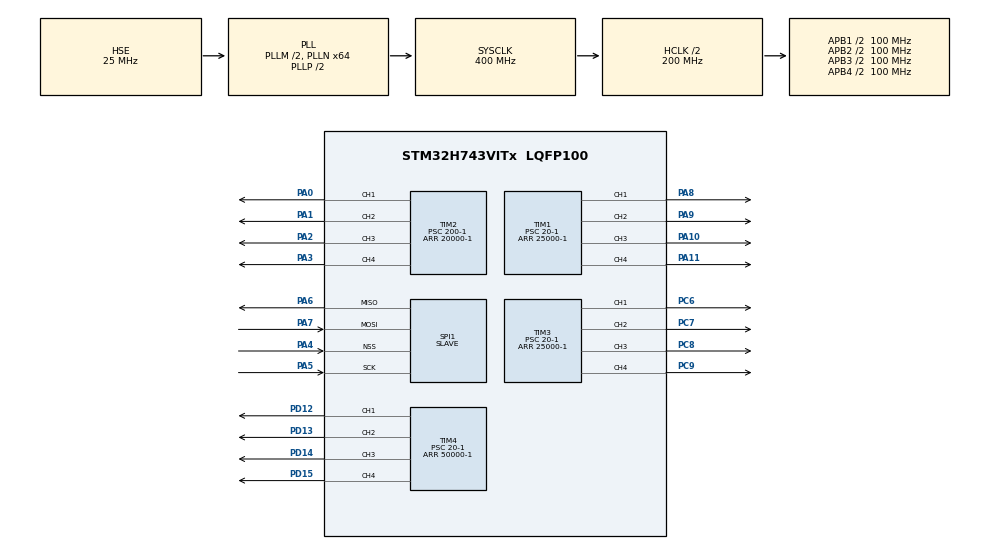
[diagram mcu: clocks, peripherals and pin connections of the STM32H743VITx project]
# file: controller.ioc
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Dma.Request0=SPI1_RX
Dma.Request1=SPI1_TX
Dma.SPI1_RX.0.Direction=DMA_PERIPH_TO_MEMORY
Dma.SPI1_RX.0.EventEnable=DISABLE
Dma.SPI1_RX.0.FIFOMode=DMA_FIFOMODE_DISABLE
Dma.SPI1_RX.0.Instance=DMA1_Stream0
Dma.SPI1_RX.0.MemDataAlignment=DMA_MDATAALIGN_BYTE
Dma.SPI1_RX.0.MemInc=DMA_MINC_ENABLE
Dma.SPI1_RX.0.Mode=DMA_NORMAL
Dma.SPI1_RX.0.PeriphDataAlignment=DMA_PDATAALIGN_BYTE
Dma.SPI1_RX.0.PeriphInc=DMA_PINC_DISABLE
Dma.SPI1_RX.0.Polarity=HAL_DMAMUX_REQ_GEN_RISING
Dma.SPI1_RX.0.Priority=DMA_PRIORITY_VERY_HIGH
Dma.SPI1_RX.0.RequestNumber=1
Dma.SPI1_RX.0.SignalID=NONE
Dma.SPI1_RX.0.SyncEnable=DISABLE
Dma.SPI1_RX.0.SyncPolarity=HAL_DMAMUX_SYNC_NO_EVENT
Dma.SPI1_RX.0.SyncRequestNumber=1
Dma.SPI1_RX.0.SyncSignalID=NONE
Dma.SPI1_TX.1.Direction=DMA_MEMORY_TO_PERIPH
Dma.SPI1_TX.1.EventEnable=DISABLE
Dma.SPI1_TX.1.FIFOMode=DMA_FIFOMODE_DISABLE
Dma.SPI1_TX.1.Instance=DMA1_Stream1
Dma.SPI1_TX.1.MemDataAlignment=DMA_MDATAALIGN_BYTE
Dma.SPI1_TX.1.MemInc=DMA_MINC_ENABLE
Dma.SPI1_TX.1.Mode=DMA_NORMAL
Dma.SPI1_TX.1.PeriphDataAlignment=DMA_PDATAALIGN_BYTE
Dma.SPI1_TX.1.PeriphInc=DMA_PINC_DISABLE
Dma.SPI1_TX.1.Polarity=HAL_DMAMUX_REQ_GEN_RISING
Dma.SPI1_TX.1.Priority=DMA_PRIORITY_LOW
Dma.SPI1_TX.1.RequestNumber=1
Dma.SPI1_TX.1.SignalID=NONE
Dma.SPI1_TX.1.SyncEnable=DISABLE
Dma.SPI1_TX.1.SyncPolarity=HAL_DMAMUX_SYNC_NO_EVENT
Dma.SPI1_TX.1.SyncRequestNumber=1
Dma.SPI1_TX.1.SyncSignalID=NONE
Mcu.Family=STM32H7
Mcu.Name=STM32H743VITx
Mcu.Package=LQFP100
NVIC.DMA1_Stream0_IRQn=true\:0\:0\:false\:false\:true\:false\:true
NVIC.DMA1_Stream1_IRQn=true\:0\:0\:false\:false\:true\:false\:true
NVIC.PriorityGroup=NVIC_PRIORITYGROUP_4
NVIC.SPI1_IRQn=true\:0\:0\:false\:false\:true\:true\:true
NVIC.TIM5_IRQn=true\:0\:0\:false\:false\:true\:true\:true
PA0.GPIO_PuPd=GPIO_PULLDOWN
PA0.GPIO_Speed=GPIO_SPEED_FREQ_VERY_HIGH
PA0.Signal=S_TIM2_CH1
PA1.GPIO_PuPd=GPIO_PULLDOWN
PA1.GPIO_Speed=GPIO_SPEED_FREQ_VERY_HIGH
PA1.Signal=S_TIM2_CH2
PA10.GPIO_PuPd=GPIO_PULLDOWN
PA10.GPIO_Speed=GPIO_SPEED_FREQ_VERY_HIGH
PA10.Signal=S_TIM1_CH3
PA11.GPIO_PuPd=GPIO_PULLDOWN
PA11.GPIO_Speed=GPIO_SPEED_FREQ_VERY_HIGH
PA11.Signal=S_TIM1_CH4
PA2.GPIO_PuPd=GPIO_PULLDOWN
PA2.GPIO_Speed=GPIO_SPEED_FREQ_VERY_HIGH
PA2.Signal=S_TIM2_CH3
PA3.GPIO_PuPd=GPIO_PULLDOWN
PA3.GPIO_Speed=GPIO_SPEED_FREQ_VERY_HIGH
PA3.Signal=S_TIM2_CH4
PA4.Mode=NSS_Signal_Hard_Input
PA4.Signal=SPI1_NSS
PA5.Mode=Full_Duplex_Slave
PA5.Signal=SPI1_SCK
PA6.Mode=Full_Duplex_Slave
PA6.Signal=SPI1_MISO
PA7.Mode=Full_Duplex_Slave
PA7.Signal=SPI1_MOSI
PA8.GPIO_PuPd=GPIO_PULLDOWN
PA8.GPIO_Speed=GPIO_SPEED_FREQ_VERY_HIGH
PA8.Signal=S_TIM1_CH1
PA9.GPIO_PuPd=GPIO_PULLDOWN
PA9.GPIO_Speed=GPIO_SPEED_FREQ_VERY_HIGH
PA9.Signal=S_TIM1_CH2
PC6.GPIO_PuPd=GPIO_PULLDOWN
PC6.GPIO_Speed=GPIO_SPEED_FREQ_VERY_HIGH
PC6.Signal=S_TIM3_CH1
PC7.GPIO_PuPd=GPIO_PULLDOWN
PC7.GPIO_Speed=GPIO_SPEED_FREQ_VERY_HIGH
PC7.Signal=S_TIM3_CH2
PC8.GPIO_PuPd=GPIO_PULLDOWN
PC8.GPIO_Speed=GPIO_SPEED_FREQ_VERY_HIGH
PC8.Signal=S_TIM3_CH3
PC9.GPIO_PuPd=GPIO_PULLDOWN
PC9.GPIO_Speed=GPIO_SPEED_FREQ_VERY_HIGH
PC9.Signal=S_TIM3_CH4
PD12.GPIO_PuPd=GPIO_PULLDOWN
PD12.GPIO_Speed=GPIO_SPEED_FREQ_VERY_HIGH
PD12.Signal=S_TIM4_CH1
PD13.GPIO_PuPd=GPIO_PULLDOWN
PD13.GPIO_Speed=GPIO_SPEED_FREQ_VERY_HIGH
PD13.Signal=S_TIM4_CH2
PD14.GPIO_PuPd=GPIO_PULLDOWN
PD14.GPIO_Speed=GPIO_SPEED_FREQ_VERY_HIGH
PD14.Signal=S_TIM4_CH3
PD15.GPIO_PuPd=GPIO_PULLDOWN
PD15.GPIO_Speed=GPIO_SPEED_FREQ_VERY_HIGH
PD15.Signal=S_TIM4_CH4
PH0-OSC_IN\ (PH0).Mode=HSE-External-Oscillator
PH0-OSC_IN\ (PH0).Signal=RCC_OSC_IN
PH1-OSC_OUT\ (PH1).Mode=HSE-External-Oscillator
PH1-OSC_OUT\ (PH1).Signal=RCC_OSC_OUT
ProjectManager.HeapSize=0x200
ProjectManager.StackSize=0x400
ProjectManager.TargetToolchain=STM32CubeIDE
RCC.ADCCLockSelection=RCC_ADCCLKSOURCE_PLL2
RCC.ADCFreq_Value=50390625
RCC.APB1Freq_Value=100000000
RCC.APB2Freq_Value=100000000
RCC.APB3Freq_Value=100000000
RCC.APB4Freq_Value=100000000
RCC.CECCLockSelection=RCC_CECCLKSOURCE_LSI
RCC.CKPERSourceSelection=RCC_CLKPSOURCE_HSI
RCC.CSI_VALUE=4000000
RCC.CortexFreq_Value=400000000
RCC.Cortex_Div=SYSTICK_CLKSOURCE_HCLK
RCC.Cortex_DivARG=SystemCoreClock/1000
RCC.D1CPRE=RCC_SYSCLK_DIV1
RCC.D1PPRE=RCC_APB3_DIV2
RCC.D2PPRE1=RCC_APB1_DIV2
RCC.D2PPRE2=RCC_APB2_DIV2
RCC.D3PPRE=RCC_APB4_DIV2
RCC.DFSDMCLockSelection=RCC_DFSDM1CLKSOURCE_D2PCLK1
RCC.DIVM1=2
RCC.DIVM2=32
RCC.DIVM3=32
RCC.DIVN1=64
RCC.DIVN2=129
RCC.DIVN3=129
RCC.DIVP1=2
RCC.DIVP2=2
RCC.DIVP3=2
RCC.DIVQ1=4
RCC.DIVQ2=2
RCC.DIVQ3=2
RCC.DIVR1=2
RCC.DIVR2=2
RCC.DIVR3=2
RCC.DSICLockSelection=RCC_DSICLKSOURCE_PHY
RCC.DSIPHY_Div=8
RCC.DSITX_Div=4
RCC.DSI_PHY_VALUE=12288000
RCC.EXTERNAL_CLOCK_VALUE=12288000
RCC.FDCANCLockSelection=RCC_FDCANCLKSOURCE_PLL
RCC.FMCCLockSelection=RCC_FMCCLKSOURCE_D1HCLK
RCC.HCLKFreq_Value=200000000
RCC.HPRE=RCC_HCLK_DIV2
RCC.HSE_VALUE=25000000
RCC.HSIDiv=RCC_PLLSAIDIVR_1
RCC.HSI_VALUE=64000000
RCC.I2C123CLockSelection=RCC_I2C123CLKSOURCE_D2PCLK1
RCC.I2C4CLockSelection=RCC_I2C4CLKSOURCE_D3PCLK1
RCC.LPTIM1CLockSelection=RCC_LPTIM1CLKSOURCE_D2PCLK1
RCC.LPTIM2CLockSelection=RCC_LPTIM2CLKSOURCE_D3PCLK1
RCC.LPTIM345CLockSelection=RCC_LPTIM345CLKSOURCE_D3PCLK1
RCC.LPUART1CLockSelection=RCC_LPUART1CLKSOURCE_D3PCLK1
RCC.LSE_VALUE=32768
RCC.PLL1_VCO_SEL-AdvancedSettings=RCC_PLL1VCOMEDIUM
RCC.PLL2_VCI_Range-AdvancedSettings=RCC_PLL2VCIRANGE_0
RCC.PLL2_VCO_SEL-AdvancedSettings=RCC_PLL2VCOMEDIUM
RCC.PLLDSIDev=2
RCC.PLLDSIIDF=DSI_PLL_IN_DIV1
RCC.PLLDSIMult=2
RCC.PLLDSINDIV=20
RCC.PLLDSIODF=DSI_PLL_OUT_DIV1
RCC.PLLFRACN=0
RCC.PLLSourceVirtual=RCC_PLLSOURCE_HSE
RCC.QSPICLockSelection=RCC_QSPICLKSOURCE_D1HCLK
RCC.RC48_VALUE=48000000
RCC.RCC_MCO1Source=RCC_MCO1SOURCE_HSI
RCC.RCC_MCO2Source=RCC_MCO2SOURCE_SYSCLK
RCC.RCC_MCODiv1=RCC_MCODIV_1
RCC.RCC_MCODiv2=RCC_MCODIV_1
RCC.RCC_RTC_Clock_Source_FROM_HSE=RCC_RTCCLKSOURCE_HSE_DIV2
RCC.RNGCLockSelection=RCC_RNGCLKSOURCE_HSI48
RCC.SAI1CLockSelection=RCC_SAI1CLKSOURCE_PLL
RCC.SAI23CLockSelection=RCC_SAI23CLKSOURCE_PLL
RCC.SAI4ACLockSelection=RCC_SAI4ACLKSOURCE_PLL
RCC.SAI4BCLockSelection=RCC_SAI4BCLKSOURCE_PLL
RCC.SPDIFCLockSelection=RCC_SPDIFRXCLKSOURCE_PLL
RCC.SPI123CLockSelection=RCC_SPI123CLKSOURCE_PLL
RCC.SPI6CLockSelection=RCC_SPI6CLKSOURCE_D3PCLK1
RCC.SWPCLockSelection=RCC_SWPMI1CLKSOURCE_D2PCLK1
RCC.SYSCLKFreq_VALUE=400000000
RCC.SYSCLKSource=RCC_SYSCLKSOURCE_PLLCLK
RCC.Spi45ClockSelection=RCC_SPI45CLKSOURCE_D2PCLK1
RCC.USART16CLockSelection=RCC_USART16CLKSOURCE_D2PCLK2
RCC.USART234578CLockSelection=RCC_USART234578CLKSOURCE_D2PCLK1
RCC.USBCLockSelection=RCC_USBCLKSOURCE_HSI48
RCC.USBFreq_Value=48000000
SH.S_TIM1_CH1.0=TIM1_CH1,PWM Generation1 CH1
SH.S_TIM1_CH2.0=TIM1_CH2,PWM Generation2 CH2
SH.S_TIM1_CH3.0=TIM1_CH3,PWM Generation3 CH3
SH.S_TIM1_CH4.0=TIM1_CH4,PWM Generation4 CH4
SH.S_TIM2_CH1.0=TIM2_CH1,PWM Generation1 CH1
SH.S_TIM2_CH2.0=TIM2_CH2,PWM Generation2 CH2
SH.S_TIM2_CH3.0=TIM2_CH3,PWM Generation3 CH3
SH.S_TIM2_CH4.0=TIM2_CH4,PWM Generation4 CH4
SH.S_TIM3_CH1.0=TIM3_CH1,PWM Generation1 CH1
SH.S_TIM3_CH2.0=TIM3_CH2,PWM Generation2 CH2
SH.S_TIM3_CH3.0=TIM3_CH3,PWM Generation3 CH3
SH.S_TIM3_CH4.0=TIM3_CH4,PWM Generation4 CH4
SH.S_TIM4_CH1.0=TIM4_CH1,PWM Generation1 CH1
SH.S_TIM4_CH2.0=TIM4_CH2,PWM Generation2 CH2
SH.S_TIM4_CH3.0=TIM4_CH3,PWM Generation3 CH3
SH.S_TIM4_CH4.0=TIM4_CH4,PWM Generation4 CH4
SPI1.DataSize=SPI_DATASIZE_8BIT
SPI1.Direction=SPI_DIRECTION_2LINES
SPI1.Mode=SPI_MODE_SLAVE
SPI1.VirtualNSS=VM_NSSHARD
SPI1.VirtualType=VM_SLAVE
TIM1.AutoReloadPreload=TIM_AUTORELOAD_PRELOAD_ENABLE
TIM1.Channel-PWM\ Generation1\ CH1=TIM_CHANNEL_1
TIM1.Channel-PWM\ Generation2\ CH2=TIM_CHANNEL_2
TIM1.Channel-PWM\ Generation3\ CH3=TIM_CHANNEL_3
TIM1.Channel-PWM\ Generation4\ CH4=TIM_CHANNEL_4
TIM1.Period=25000-1
TIM1.Prescaler=20-1
TIM1.Pulse-PWM\ Generation1\ CH1=15000
TIM1.Pulse-PWM\ Generation2\ CH2=15000
TIM1.Pulse-PWM\ Generation3\ CH3=15000
TIM1.Pulse-PWM\ Generation4\ CH4=15000
TIM2.AutoReloadPreload=TIM_AUTORELOAD_PRELOAD_ENABLE
TIM2.Channel-PWM\ Generation1\ CH1=TIM_CHANNEL_1
TIM2.Channel-PWM\ Generation2\ CH2=TIM_CHANNEL_2
TIM2.Channel-PWM\ Generation3\ CH3=TIM_CHANNEL_3
TIM2.Channel-PWM\ Generation4\ CH4=TIM_CHANNEL_4
TIM2.Period=20000-1
TIM2.Prescaler=200-1
TIM2.Pulse-PWM\ Generation1\ CH1=0
TIM2.Pulse-PWM\ Generation2\ CH2=0
TIM2.Pulse-PWM\ Generation3\ CH3=0
TIM2.Pulse-PWM\ Generation4\ CH4=0
TIM3.AutoReloadPreload=TIM_AUTORELOAD_PRELOAD_ENABLE
TIM3.Channel-PWM\ Generation1\ CH1=TIM_CHANNEL_1
TIM3.Channel-PWM\ Generation2\ CH2=TIM_CHANNEL_2
TIM3.Channel-PWM\ Generation3\ CH3=TIM_CHANNEL_3
TIM3.Channel-PWM\ Generation4\ CH4=TIM_CHANNEL_4
TIM3.Period=25000-1
TIM3.Prescaler=20-1
TIM3.Pulse-PWM\ Generation1\ CH1=15000
TIM3.Pulse-PWM\ Generation2\ CH2=15000
TIM3.Pulse-PWM\ Generation3\ CH3=15000
TIM3.Pulse-PWM\ Generation4\ CH4=15000
TIM4.AutoReloadPreload=TIM_AUTORELOAD_PRELOAD_ENABLE
TIM4.Channel-PWM\ Generation1\ CH1=TIM_CHANNEL_1
TIM4.Channel-PWM\ Generation2\ CH2=TIM_CHANNEL_2
TIM4.Channel-PWM\ Generation3\ CH3=TIM_CHANNEL_3
TIM4.Channel-PWM\ Generation4\ CH4=TIM_CHANNEL_4
TIM4.Period=50000-1
TIM4.Prescaler=20-1
TIM4.Pulse-PWM\ Generation1\ CH1=15000
TIM4.Pulse-PWM\ Generation2\ CH2=15000
TIM4.Pulse-PWM\ Generation3\ CH3=15000
TIM4.Pulse-PWM\ Generation4\ CH4=15000
TIM5.Period=1000
TIM5.Prescaler=200-1
VP_TIM5_VS_ClockSourceINT.Mode=Internal
board=custom

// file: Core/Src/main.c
/* USER CODE BEGIN Header */
/**
  ******************************************************************************
  * @file           : main.cpp
  * @brief          : Main program body
  ******************************************************************************
  * @attention
  *
  * <h2><center>&copy; Copyright (c) 2021 STMicroelectronics.
  * All rights reserved.</center></h2>
  *
  * This software component is licensed by ST under BSD 3-Clause license,
  * the "License"; You may not use this file except in compliance with the
  * License. You may obtain a copy of the License at:
  *                        opensource.org/licenses/BSD-3-Clause
  *
  ******************************************************************************
  */
/* USER CODE END Header */
#include "main.h"
#include "dma.h"
#include "spi.h"
#include "tim.h"
#include "gpio.h"

/* USER CODE BEGIN Includes */
//#include "usbd_cdc_if.h"

#include "Motors.hpp"

/* USER CODE END Includes */

void SystemClock_Config(void);

/* USER CODE BEGIN 0 */
int TicCount = 0;

enum SPIStatus {
    OFF = 0,
    WORK = 1,
    DONE = 2
} SPIOneStatus = OFF, SPITwoStatus = OFF;

void HAL_SPI_RxCpltCallback(SPI_HandleTypeDef *hspi) {
    if (hspi == &hspi1) {
        SPIOneStatus = DONE;
    }
}

void HAL_TIM_PeriodElapsedCallback(TIM_HandleTypeDef *htim) {
    if (htim->Instance == TIM5) {
        TicCount += 1;
    }
}

/* USER CODE END 0 */

int main(void)
{

  /* MCU Configuration--------------------------------------------------------*/

  /* Reset of all peripherals, Initializes the Flash interface and the Systick. */
  HAL_Init();

  /* Configure the system clock */
  SystemClock_Config();

  /* Initialize all configured peripherals */
  MX_GPIO_Init();
  MX_SPI1_Init();
  MX_TIM1_Init();
  MX_TIM2_Init();
  MX_TIM3_Init();
  MX_TIM4_Init();
  MX_DMA_Init();
  MX_TIM5_Init();
  /* USER CODE BEGIN 2 */

    SetUpTimers();

  /* USER CODE END 2 */

  /* Infinite loop */
  /* USER CODE BEGIN WHILE */

    struct MotorMessageStruct* motorMessage  = GetMotorsMessageBuffer();
    size_t motorMessageSize = GetMotorsMessageSize();

    HAL_SPI_Receive_IT(&hspi1, (uint8_t*) motorMessage, motorMessageSize);

    struct MotorsStruct* motorsStruct = GetMotorsStruct();

    for (;;) {

        if (SPIOneStatus != DONE) {
            HAL_SPI_Receive_IT(&hspi1, motorMessage, motorMessageSize);
        }

        if (SPIOneStatus == DONE) {

            SPIOneStatus = OFF;

            size_t isParsed = Parse(motorMessage, motorsStruct);

            if(isParsed)
                TicCount = 0;
        }

        if (TicCount == 500)
            CleanMotorsStruct(motorsStruct);

        SetPWM(motorsStruct);
        SetMotors(motorsStruct);

    /* USER CODE END WHILE */

    }
}

void SystemClock_Config(void)
{
  RCC_OscInitTypeDef RCC_OscInitStruct = {0};
  RCC_ClkInitTypeDef RCC_ClkInitStruct = {0};

  /** Supply configuration update enable
  */
  HAL_PWREx_ConfigSupply(PWR_LDO_SUPPLY);
  /** Configure the main internal regulator output voltage
  */
  __HAL_PWR_VOLTAGESCALING_CONFIG(PWR_REGULATOR_VOLTAGE_SCALE1);

  while(!__HAL_PWR_GET_FLAG(PWR_FLAG_VOSRDY)) {}
  /** Initializes the RCC Oscillators according to the specified parameters
  * in the RCC_OscInitTypeDef structure.
  */
  RCC_OscInitStruct.OscillatorType = RCC_OSCILLATORTYPE_HSE;
  RCC_OscInitStruct.HSEState = RCC_HSE_ON;
  RCC_OscInitStruct.PLL.PLLState = RCC_PLL_ON;
  RCC_OscInitStruct.PLL.PLLSource = RCC_PLLSOURCE_HSE;
  RCC_OscInitStruct.PLL.PLLM = 2;
  RCC_OscInitStruct.PLL.PLLN = 64;
  RCC_OscInitStruct.PLL.PLLP = 2;
  RCC_OscInitStruct.PLL.PLLQ = 4;
  RCC_OscInitStruct.PLL.PLLR = 2;
  RCC_OscInitStruct.PLL.PLLRGE = RCC_PLL1VCIRANGE_3;
  RCC_OscInitStruct.PLL.PLLVCOSEL = RCC_PLL1VCOWIDE;
  RCC_OscInitStruct.PLL.PLLFRACN = 0;
  if (HAL_RCC_OscConfig(&RCC_OscInitStruct) != HAL_OK)
  {
    Error_Handler();
  }
  /** Initializes the CPU, AHB and APB buses clocks
  */
  RCC_ClkInitStruct.ClockType = RCC_CLOCKTYPE_HCLK|RCC_CLOCKTYPE_SYSCLK
                              |RCC_CLOCKTYPE_PCLK1|RCC_CLOCKTYPE_PCLK2
                              |RCC_CLOCKTYPE_D3PCLK1|RCC_CLOCKTYPE_D1PCLK1;
  RCC_ClkInitStruct.SYSCLKSource = RCC_SYSCLKSOURCE_PLLCLK;
  RCC_ClkInitStruct.SYSCLKDivider = RCC_SYSCLK_DIV1;
  RCC_ClkInitStruct.AHBCLKDivider = RCC_HCLK_DIV2;
  RCC_ClkInitStruct.APB3CLKDivider = RCC_APB3_DIV2;
  RCC_ClkInitStruct.APB1CLKDivider = RCC_APB1_DIV2;
  RCC_ClkInitStruct.APB2CLKDivider = RCC_APB2_DIV2;
  RCC_ClkInitStruct.APB4CLKDivider = RCC_APB4_DIV2;

  if (HAL_RCC_ClockConfig(&RCC_ClkInitStruct, FLASH_LATENCY_2) != HAL_OK)
  {
    Error_Handler();
  }
}

void Error_Handler(void)
{
    __disable_irq();
    while (1) {
    }
}

/************************ (C) COPYRIGHT STMicroelectronics *****END OF FILE****/
